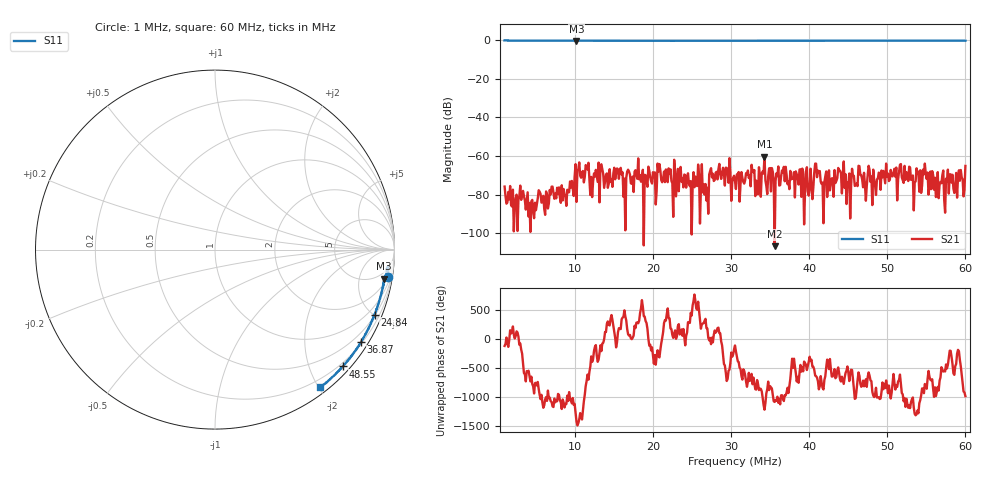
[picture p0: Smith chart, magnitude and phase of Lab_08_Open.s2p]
!Keysight Technologies,P9371A,MY57213205,A.13.10.05
!Date: Wednesday, April 16, 2025 10:01:49
!Correction: S11(Off)
!S21(Off)
!S12(Off)
!S22(Off)
!S2P File: Measurements: S11, S21, S12, S22:
# Hz S  RI  R 50
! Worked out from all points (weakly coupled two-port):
!   501 points, 1 MHz to 60 MHz, reference 50 ohm
!   highest |S21| = -60.24 dB at 34.28 MHz (marker M1); lowest = -106.6 dB at 35.57 MHz (marker M2)
!   lowest |S11| = -0.4 dB at 10.2 MHz (marker M3), VSWR 44.25, Z = 147 - j550 ohm
!   |S11| at or under -10 dB: nowhere
!   S12 and S22 are empty: the file has one direction only
!   S11 on the Smith chart (normalised r, x): 1 MHz: 2, -12; 24.84 MHz: 0.55, -5.05; 36.87 MHz: 0.24, -3.42; 48.55 MHz: 0.14, -2.57; 60 MHz: 0.09, -2.02
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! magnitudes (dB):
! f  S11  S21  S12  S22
! 1 MHz  -0.2  -75.8  -  -
! 8.906 MHz  -0.3  -85.7  -  -
! 10.2 MHz  -0.4  -83.7  -  -
! 10.91 MHz  -0.4  -68.3  -  -
! 20.71 MHz  -0.4  -68.0  -  -
! 24.84 MHz  -0.4  -72.9  -  -
! 28.26 MHz  -0.3  -72.0  -  -
! 30.5 MHz  -0.3  -72.8  -  -
! 34.28 MHz  -0.3  -60.2  -  -
! 35.57 MHz  -0.3  -106.6  -  -
! 36.87 MHz  -0.3  -73.0  -  -
! 40.41 MHz  -0.3  -82.3  -  -
! 41 MHz  -0.3  -70.9  -  -
! 41.71 MHz  -0.3  -73.7  -  -
! 43.83 MHz  -0.3  -67.1  -  -
! 45.01 MHz  -0.3  -74.8  -  -
! 46.55 MHz  -0.3  -69.7  -  -
! 48.55 MHz  -0.3  -80.1  -  -
! 50.21 MHz  -0.3  -72.9  -  -
! 54.81 MHz  -0.3  -63.9  -  -
! 56.46 MHz  -0.3  -68.3  -  -
! 60 MHz  -0.3  -65.1  -  -
